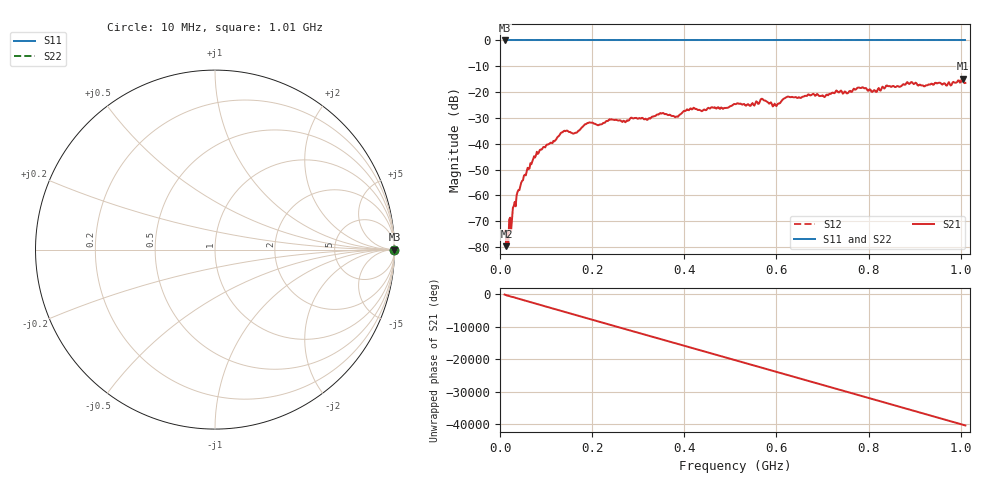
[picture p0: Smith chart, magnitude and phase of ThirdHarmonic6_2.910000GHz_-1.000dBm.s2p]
! 8/17/2025 8:04:07 AM
! C:\ANRITSUVNA\TEMP\TEMP.S2P
! CHANNEL.1
! TR.MEASUREMENT
! RAW.DATA
! RF.CORRECTION.OFF
! AVERAGING.OFF
! IF.BANDWIDTH: 5KHZ
! SWEEPTYPE:  FREQ.SWEEP(Linear)
! Reference Plane Port Info
! PORT:  PORT1  PORT2
! DISTANCE:  0  m  0  m
! TIME:  0  s  0  s
! PHASE.OFFSET:  0  deg.  0  deg.
! LOSS:  0  dB  0  dB
! REF.LOSS:  0  dB  0  dB
! REF.FREQ:  0  Hz  0  Hz
! Power Info
! POWER:  -20  dBm  -20  dBm
! EFF.POWER:  -20  dBm  -20  dBm
! SOURCE.ATTEN:  0  dB  0  dB
! TEST.ATTEN:  0  dB  0  dB
# GHZ S RI R 50.0
! FREQ.GHZ  S11RE  S11IM  S21RE  S21IM  S12RE  S12IM  S22RE  S22IM
!; PortSelection: Port_12
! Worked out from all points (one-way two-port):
!   501 points, 10 MHz to 1.01 GHz, reference 50 ohm
!   highest |S21| = -14.82 dB at 1.004 GHz (marker M1); lowest = -79.7 dB at 14 MHz (marker M2)
!   lowest |S11| = 0.0 dB at 10 MHz (marker M3)
!   |S11| at or under -10 dB: nowhere
!   |S22| runs from 0.0 to 0.0 dB; largest |S21 - S12| = 1.2
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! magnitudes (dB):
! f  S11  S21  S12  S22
! 10 MHz  0.0  -73.9  0.0  0.0
! 14 MHz  0.0  -79.7  0.0  0.0
! 22 MHz  0.0  -68.7  0.0  0.0
! 24 MHz  0.0  -74.0  0.0  0.0
! 40 MHz  0.0  -57.9  0.0  0.0
! 76 MHz  0.0  -45.4  0.0  0.0
! 136 MHz  0.0  -35.6  0.0  0.0
! 162 MHz  0.0  -35.9  0.0  0.0
! 178 MHz  0.0  -33.6  0.0  0.0
! 344 MHz  0.0  -28.7  0.0  0.0
! 384 MHz  0.0  -29.5  0.0  0.0
! 416 MHz  0.0  -26.7  0.0  0.0
! 510 MHz  0.0  -24.6  0.0  0.0
! 548 MHz  0.0  -24.3  0.0  0.0
! 570 MHz  0.0  -22.7  0.0  0.0
! 596 MHz  0.0  -24.5  0.0  0.0
! 624 MHz  0.0  -21.7  0.0  0.0
! 678 MHz  0.0  -20.9  0.0  0.0
! 814 MHz  0.0  -19.4  0.0  0.0
! 844 MHz  0.0  -17.7  0.0  0.0
! 1.004 GHz  0.0  -14.8  0.0  0.0
! 1.01 GHz  0.0  -16.4  0.0  0.0
